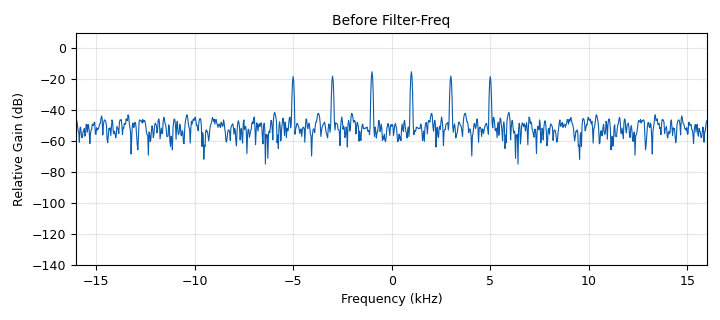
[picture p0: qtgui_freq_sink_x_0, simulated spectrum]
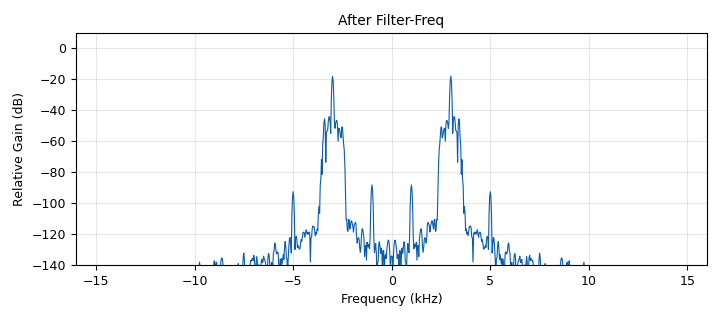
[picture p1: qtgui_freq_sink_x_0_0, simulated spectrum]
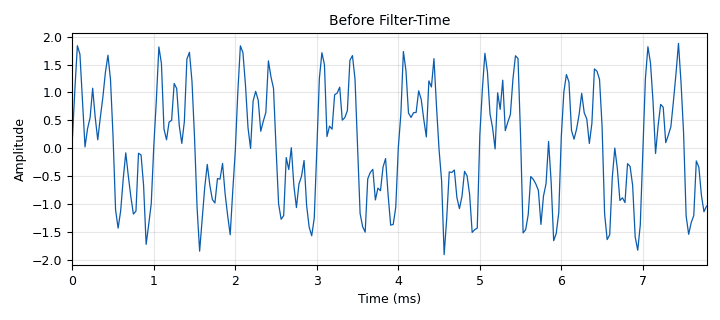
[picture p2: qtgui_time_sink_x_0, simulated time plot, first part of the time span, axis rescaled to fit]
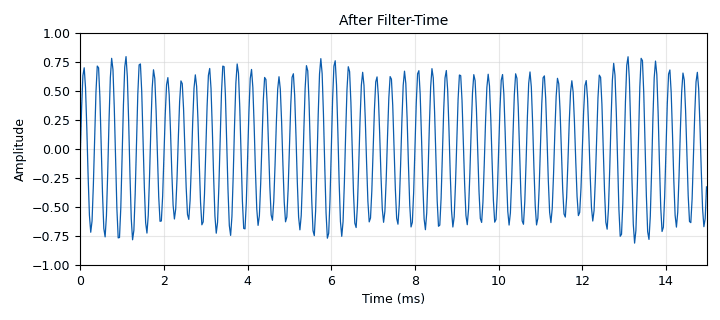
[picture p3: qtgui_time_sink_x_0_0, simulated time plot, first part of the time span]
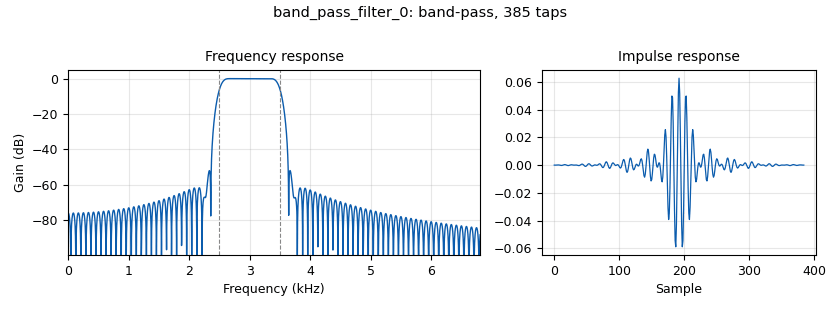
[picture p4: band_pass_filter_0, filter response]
options:
  parameters:
    generate_options: qt_gui
    id: Tunable_Band_Pass_Filter
    output_language: python
    title: Tunable_BPF
  states: {}

blocks:
- name: bw
  id: variable_qtgui_range
  parameters:
    start: '200'
    step: '100'
    stop: '3000'
    value: '1000'
    widget: slider
  states: {}
- name: center_freq
  id: variable_qtgui_range
  parameters:
    start: '500'
    step: '100'
    stop: '7000'
    value: '3000'
    widget: slider
  states: {}
- name: samp_rate
  id: variable
  parameters:
    value: '32000'
  states: {}
- name: analog_noise_source_x_0
  id: analog_noise_source_x
  parameters:
    amp: '0.2'
    noise_type: analog.GR_GAUSSIAN
    seed: '0'
    type: float
  states: {}
- name: analog_sig_source_x_0
  id: analog_sig_source_x
  parameters:
    amp: '1'
    freq: '1000'
    offset: '0'
    phase: '0'
    samp_rate: samp_rate
    type: float
    waveform: analog.GR_SIN_WAVE
  states: {}
- name: analog_sig_source_x_0_0
  id: analog_sig_source_x
  parameters:
    amp: '0.7'
    freq: '3000'
    offset: '0'
    phase: '0'
    samp_rate: samp_rate
    type: float
    waveform: analog.GR_SIN_WAVE
  states: {}
- name: analog_sig_source_x_0_1
  id: analog_sig_source_x
  parameters:
    amp: '0.7'
    freq: '5000'
    offset: '0'
    phase: '0'
    samp_rate: samp_rate
    type: float
    waveform: analog.GR_SIN_WAVE
  states: {}
- name: band_pass_filter_0
  id: band_pass_filter
  parameters:
    decim: '1'
    gain: '1'
    high_cutoff_freq: center_freq + bw/2
    low_cutoff_freq: center_freq - bw/2
    samp_rate: samp_rate
    type: fir_filter_fff
    width: '200'
    win: window.WIN_HAMMING
  states: {}
- name: blocks_add_xx_0
  id: blocks_add_xx
  parameters:
    num_inputs: '4'
    type: float
  states: {}
- name: qtgui_freq_sink_x_0
  id: qtgui_freq_sink_x
  parameters:
    bw: samp_rate
    fc: '0'
    fftsize: '1024'
    name: '"Before Filter-Freq"'
    type: float
  states: {}
- name: qtgui_freq_sink_x_0_0
  id: qtgui_freq_sink_x
  parameters:
    bw: samp_rate
    fc: '0'
    fftsize: '1024'
    name: '"After Filter-Freq"'
    type: float
  states: {}
- name: qtgui_time_sink_x_0
  id: qtgui_time_sink_x
  parameters:
    name: '"Before Filter-Time"'
    size: '1024'
    srate: samp_rate
    type: float
  states: {}
- name: qtgui_time_sink_x_0_0
  id: qtgui_time_sink_x
  parameters:
    name: '"After Filter-Time"'
    size: '1024'
    srate: samp_rate
    type: float
  states: {}

connections:
- [analog_noise_source_x_0, '0', blocks_add_xx_0, '3']
- [analog_sig_source_x_0, '0', blocks_add_xx_0, '0']
- [analog_sig_source_x_0_0, '0', blocks_add_xx_0, '1']
- [analog_sig_source_x_0_1, '0', blocks_add_xx_0, '2']
- [band_pass_filter_0, '0', qtgui_freq_sink_x_0_0, '0']
- [band_pass_filter_0, '0', qtgui_time_sink_x_0_0, '0']
- [blocks_add_xx_0, '0', band_pass_filter_0, '0']
- [blocks_add_xx_0, '0', qtgui_freq_sink_x_0, '0']
- [blocks_add_xx_0, '0', qtgui_time_sink_x_0, '0']

metadata:
  file_format: 1
  grc_version: 3.10.12.0
